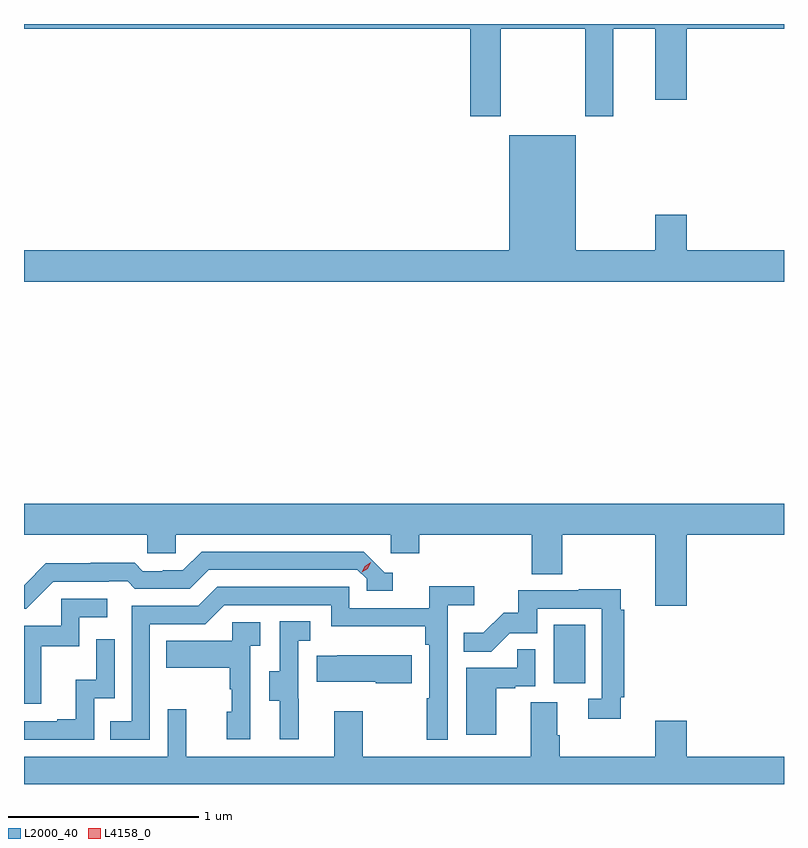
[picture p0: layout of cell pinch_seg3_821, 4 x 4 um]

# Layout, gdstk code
import gdstk
lib = gdstk.Library(unit=1e-6, precision=1e-09)
def R(c, l, rs):  # rectangles x0, y0, x1, y1
    for r in rs: c.add(gdstk.rectangle(r[:2], r[2:], *l))
def P(c, l, *ps):  # polygons
    for p in ps: c.add(gdstk.Polygon(p, *l))
L2000_40 = (2000, 40)
L4158_0 = (4158, 0)

pinch_seg3_821 = lib.new_cell('pinch_seg3_821')
R(pinch_seg3_821, L2000_40, [(847.79,721.446,847.954,721.753)])
P(pinch_seg3_821, L2000_40, [(847.509,724.892),(847.954,724.892),(847.954,724.431),(848.101,724.431),(848.101,724.892),(848.324,724.892),(848.324,724.518),(848.488,724.518),(848.488,724.892),(849.001,724.892),(849.001,724.916),(845.001,724.916),(845.001,724.892),(847.349,724.892),(847.349,724.431),(847.509,724.431)],
  [(849.001,723.724),(848.488,723.724),(848.488,723.913),(848.324,723.913),(848.324,723.724),(847.906,723.724),(847.906,724.33),(847.556,724.33),(847.556,723.724),(845.001,723.724),(845.001,723.56),(849.001,723.56)],
  [(848.488,722.228),(849.001,722.228),(849.001,722.392),(845.001,722.392),(845.001,722.228),(845.649,722.228),(845.649,722.13),(845.799,722.13),(845.799,722.228),(846.93,722.228),(846.93,722.13),(847.082,722.13),(847.082,722.228),(847.673,722.228),(847.673,722.02),(847.833,722.02),(847.833,722.228),(848.324,722.228),(848.324,721.854),(848.488,721.854)],
  [(845.154,721.98),(845.447,721.98),(845.447,721.983),(845.546,721.983),(845.585,721.944),(845.874,721.944),(845.973,722.043),(846.756,722.043),(846.804,721.995),(846.804,721.932),(846.943,721.932),(846.943,722.028),(846.9,722.028),(846.789,722.139),(845.936,722.139),(845.837,722.04),(845.73,722.04),(845.73,722.037),(845.627,722.037),(845.585,722.08),(845.352,722.08),(845.352,722.077),(845.116,722.077),(845.001,721.962),(845.001,721.839),(845.013,721.839)],
  [(845.664,721.758),(845.955,721.758),(846.054,721.857),(846.618,721.857),(846.618,721.745),(847.114,721.745),(847.114,721.649),(847.134,721.649),(847.134,721.367),(847.122,721.367),(847.122,721.149),(847.23,721.149),(847.23,721.856),(847.372,721.856),(847.372,721.958),(847.133,721.958),(847.133,721.842),(846.714,721.842),(846.714,721.953),(846.017,721.953),(845.918,721.854),(845.568,721.854),(845.568,721.245),(845.455,721.245),(845.455,721.149),(845.664,721.149)],
  [(848.141,721.372),(848.159,721.372),(848.159,721.832),(848.141,721.832),(848.141,721.94),(847.921,721.94),(847.921,721.935),(847.603,721.935),(847.603,721.818),(847.526,721.818),(847.419,721.711),(847.315,721.711),(847.315,721.612),(847.459,721.612),(847.557,721.71),(847.701,721.71),(847.701,721.839),(848.043,721.839),(848.043,721.365),(847.971,721.365),(847.971,721.26),(848.141,721.26)],
  [(845.093,721.641),(845.292,721.641),(845.292,721.794),(845.44,721.794),(845.44,721.89),(845.196,721.89),(845.196,721.749),(845.001,721.749),(845.001,721.338),(845.093,721.338)],
  [(846.446,721.365),(846.444,721.365),(846.444,721.669),(846.508,721.669),(846.508,721.772),(846.348,721.772),(846.348,721.509),(846.293,721.509),(846.293,721.354),(846.347,721.354),(846.347,721.152),(846.446,721.152)],
  [(846.192,721.643),(846.244,721.643),(846.244,721.767),(846.096,721.767),(846.096,721.669),(845.749,721.669),(845.749,721.529),(846.084,721.529),(846.084,721.415),(846.094,721.415),(846.094,721.296),(846.068,721.296),(846.068,721.152),(846.192,721.152)],
  [(845.37,721.368),(845.478,721.368),(845.478,721.678),(845.382,721.678),(845.382,721.466),(845.273,721.466),(845.273,721.258),(845.177,721.258),(845.177,721.245),(845.001,721.245),(845.001,721.149),(845.37,721.149)],
  [(847.486,721.419),(847.586,721.419),(847.586,721.431),(847.692,721.431),(847.692,721.625),(847.597,721.625),(847.597,721.527),(847.328,721.527),(847.328,721.176),(847.486,721.176)],
  [(847.042,721.594),(846.649,721.594),(846.649,721.591),(846.541,721.591),(846.541,721.454),(846.851,721.454),(846.851,721.447),(847.042,721.447)],
  [(849.001,721.06),(848.488,721.06),(848.488,721.249),(848.324,721.249),(848.324,721.06),(847.82,721.06),(847.82,721.172),(847.807,721.172),(847.807,721.346),(847.667,721.346),(847.667,721.06),(846.783,721.06),(846.783,721.3),(846.635,721.3),(846.635,721.06),(845.855,721.06),(845.855,721.309),(845.757,721.309),(845.757,721.06),(845.001,721.06),(845.001,720.916),(849.001,720.916)])
P(pinch_seg3_821, L4158_0, [(846.778,722.03),(846.778,722.031),(846.795,722.063),(846.825,722.083),(846.826,722.083),(846.826,722.082),(846.809,722.05),(846.779,722.03)])

lib.write_gds('pinch_seg3_821.gds')
